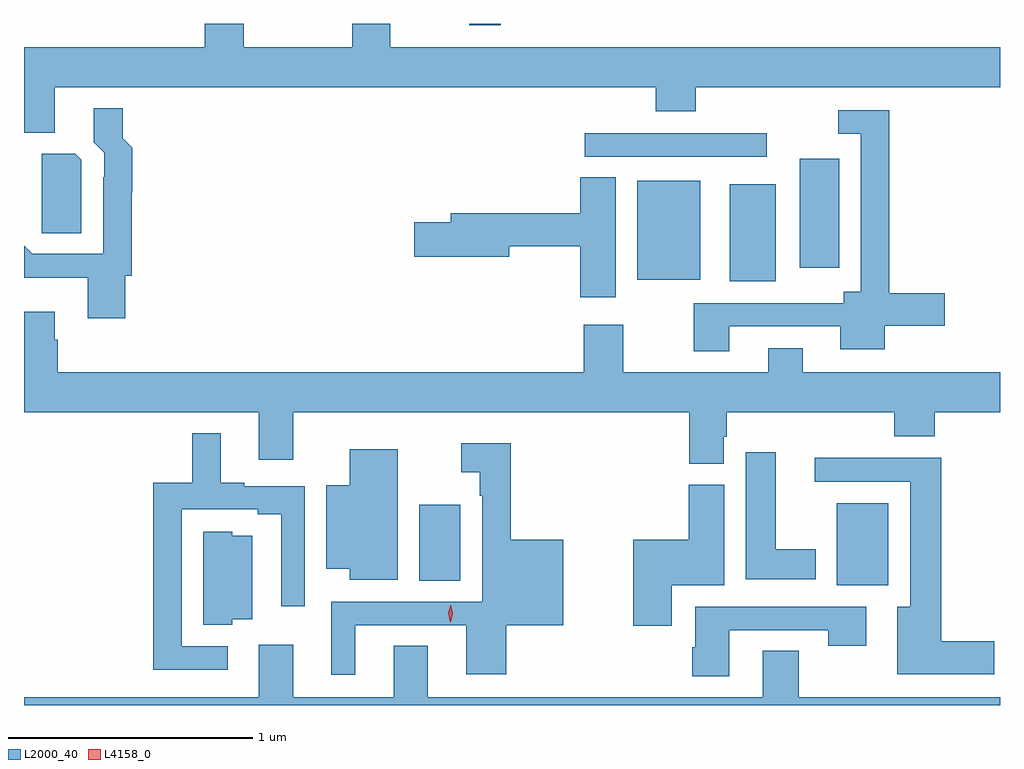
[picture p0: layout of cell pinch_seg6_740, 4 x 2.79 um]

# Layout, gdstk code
import gdstk
lib = gdstk.Library(unit=1e-6, precision=1e-09)
def R(c, l, rs):  # rectangles x0, y0, x1, y1
    for r in rs: c.add(gdstk.rectangle(r[:2], r[2:], *l))
def P(c, l, *ps):  # polygons
    for p in ps: c.add(gdstk.Polygon(p, *l))
L2000_40 = (2000, 40)
L4158_0 = (4158, 0)

pinch_seg6_740 = lib.new_cell('pinch_seg6_740')
R(pinch_seg6_740, L2000_40, [(614.84,915.992,615.052,916.327), (613.13,916.009,613.297,916.321), (614.402,917.237,614.59,917.635), (614.024,917.243,614.281,917.65), (614.69,917.292,614.851,917.74), (613.809,917.748,614.554,917.844), (613.335,918.287,613.463,918.292)])
P(pinch_seg6_740, L2000_40, [(611.635,918.032),(614.099,918.032),(614.099,917.933),(614.264,917.933),(614.264,918.032),(615.51,918.032),(615.51,918.196),(613.011,918.196),(613.011,918.292),(612.856,918.292),(612.856,918.196),(612.411,918.196),(612.411,918.292),(612.251,918.292),(612.251,918.196),(611.51,918.196),(611.51,917.845),(611.635,917.845)],
  [(611.924,917.259),(611.951,917.259),(611.951,917.602),(611.954,917.602),(611.954,917.784),(611.915,917.823),(611.915,917.947),(611.795,917.947),(611.795,917.806),(611.838,917.763),(611.838,917.663),(611.835,917.663),(611.835,917.349),(611.544,917.349),(611.51,917.383),(611.51,917.252),(611.771,917.252),(611.771,917.085),(611.924,917.085)],
  [(614.401,917.052),(614.855,917.052),(614.855,916.958),(615.037,916.958),(615.037,917.054),(615.283,917.054),(615.283,917.189),(615.056,917.189),(615.056,917.937),(614.847,917.937),(614.847,917.841),(614.94,917.841),(614.94,917.194),(614.87,917.194),(614.87,917.148),(614.254,917.148),(614.254,916.95),(614.401,916.95)],
  [(611.745,917.736),(611.721,917.76),(611.582,917.76),(611.582,917.545),(611.583,917.545),(611.583,917.434),(611.745,917.434)],
  [(613.936,917.663),(613.79,917.663),(613.79,917.516),(613.259,917.516),(613.259,917.48),(613.11,917.48),(613.11,917.338),(613.498,917.338),(613.498,917.38),(613.79,917.38),(613.79,917.172),(613.936,917.172)],
  [(614.377,916.599),(614.39,916.599),(614.39,916.7),(615.077,916.7),(615.077,916.601),(615.242,916.601),(615.242,916.7),(615.51,916.7),(615.51,916.864),(614.701,916.864),(614.701,916.963),(614.561,916.963),(614.561,916.864),(613.965,916.864),(613.965,917.059),(613.805,917.059),(613.805,916.864),(611.648,916.864),(611.648,916.997),(611.635,916.997),(611.635,917.113),(611.51,917.113),(611.51,916.7),(612.473,916.7),(612.473,916.506),(612.613,916.506),(612.613,916.7),(614.237,916.7),(614.237,916.489),(614.377,916.489)],
  [(612.346,915.741),(612.156,915.741),(612.156,916.302),(612.467,916.302),(612.467,916.282),(612.564,916.282),(612.564,915.906),(612.66,915.906),(612.66,916.398),(612.412,916.398),(612.412,916.411),(612.316,916.411),(612.316,916.615),(612.199,916.615),(612.199,916.411),(612.04,916.411),(612.04,915.645),(612.346,915.645)],
  [(612.868,915.828),(613.322,915.828),(613.322,915.627),(613.486,915.627),(613.486,915.827),(613.72,915.827),(613.72,916.177),(613.505,916.177),(613.505,916.573),(613.302,916.573),(613.302,916.454),(613.377,916.454),(613.377,916.358),(613.389,916.358),(613.389,915.924),(612.77,915.924),(612.77,915.624),(612.868,915.624)],
  [(613.042,916.549),(612.845,916.549),(612.845,916.402),(612.749,916.402),(612.749,916.058),(612.845,916.058),(612.845,916.013),(613.042,916.013)],
  [(614.755,916.138),(614.59,916.138),(614.59,916.537),(614.468,916.537),(614.468,916.016),(614.755,916.016)],
  [(615.487,915.761),(615.269,915.761),(615.269,916.514),(614.751,916.514),(614.751,916.416),(615.143,916.416),(615.143,915.904),(615.089,915.904),(615.089,915.626),(615.487,915.626)],
  [(614.164,915.992),(614.38,915.992),(614.38,916.404),(614.234,916.404),(614.234,916.177),(614.006,916.177),(614.006,915.825),(614.164,915.825)],
  [(612.363,915.851),(612.445,915.851),(612.445,916.195),(612.363,916.195),(612.363,916.21),(612.245,916.21),(612.245,915.83),(612.363,915.83)],
  [(614.401,915.807),(614.806,915.807),(614.806,915.744),(614.962,915.744),(614.962,915.903),(614.261,915.903),(614.261,915.737),(614.249,915.737),(614.249,915.618),(614.401,915.618)],
  [(615.51,915.532),(614.685,915.532),(614.685,915.722),(614.537,915.722),(614.537,915.532),(613.165,915.532),(613.165,915.743),(613.025,915.743),(613.025,915.532),(612.613,915.532),(612.613,915.748),(612.473,915.748),(612.473,915.532),(611.51,915.532),(611.51,915.5),(615.51,915.5)])
P(pinch_seg6_740, L4158_0, [(613.258,915.839),(613.257,915.84),(613.248,915.876),(613.258,915.912),(613.258,915.912),(613.259,915.912),(613.268,915.876),(613.258,915.84)])

lib.write_gds('pinch_seg6_740.gds')
